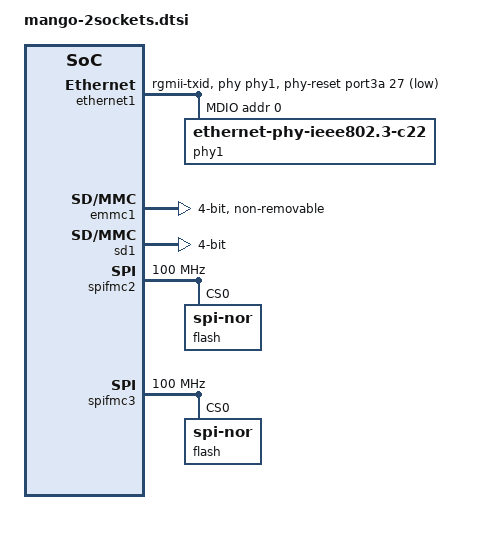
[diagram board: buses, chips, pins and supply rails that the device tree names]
#define NR_CPUS 128

#include "mango.dtsi"
#if NR_CPUS > 64
#include "mango-cpus-socket1.dtsi"
#endif
#include "mango-clock-socket1.dtsi"

/ {
	/delete-node/ distance-map;
	distance-map {
		compatible = "numa-distance-map-v1";
		distance-matrix = <0 0 10>,	//chip0
				  <0 1 15>,
				  <0 2 25>,
				  <0 3 30>,
				  <0 4 110>,
				  <0 5 115>,
				  <0 6 125>,
				  <0 7 130>,
				  <1 0 15>,
				  <1 1 10>,
				  <1 2 30>,
				  <1 3 25>,
				  <1 4 115>,
				  <1 5 110>,
				  <1 6 130>,
				  <1 7 125>,
				  <2 0 25>,
				  <2 1 30>,
				  <2 2 10>,
				  <2 3 15>,
				  <2 4 125>,
				  <2 5 130>,
				  <2 6 110>,
				  <2 7 115>,
				  <3 0 30>,
				  <3 1 25>,
				  <3 2 15>,
				  <3 3 10>,
				  <3 4 130>,
				  <3 5 125>,
				  <3 6 115>,
				  <3 7 110>,
				  <4 0 110>,	//chip1
				  <4 1 115>,
				  <4 2 125>,
				  <4 3 130>,
				  <4 4 10>,
				  <4 5 15>,
				  <4 6 25>,
				  <4 7 30>,
				  <5 0 115>,
				  <5 1 110>,
				  <5 2 130>,
				  <5 3 125>,
				  <5 4 15>,
				  <5 5 10>,
				  <5 6 30>,
				  <5 7 25>,
				  <6 0 125>,
				  <6 1 130>,
				  <6 2 110>,
				  <6 3 115>,
				  <6 4 25>,
				  <6 5 30>,
				  <6 6 10>,
				  <6 7 15>,
				  <7 0 130>,
				  <7 1 125>,
				  <7 2 115>,
				  <7 3 110>,
				  <7 4 30>,
				  <7 5 25>,
				  <7 6 15>,
				  <7 7 10>;
	};

	soc {
#if NR_CPUS > 64
		/delete-node/ clint-mswi@7094000000;
		clint_mswi: clint-mswi@7094000000 {
			compatible = "thead,c900-clint-mswi";
			reg = <0x00000070 0x94000000 0x00000000 0x00004000>;
			interrupts-extended = <
				&cpu0_intc 3
				&cpu1_intc 3
				&cpu2_intc 3
				&cpu3_intc 3
				&cpu4_intc 3
				&cpu5_intc 3
				&cpu6_intc 3
				&cpu7_intc 3
				&cpu8_intc 3
				&cpu9_intc 3
				&cpu10_intc 3
				&cpu11_intc 3
				&cpu12_intc 3
				&cpu13_intc 3
				&cpu14_intc 3
				&cpu15_intc 3
				&cpu16_intc 3
				&cpu17_intc 3
				&cpu18_intc 3
				&cpu19_intc 3
				&cpu20_intc 3
				&cpu21_intc 3
				&cpu22_intc 3
				&cpu23_intc 3
				&cpu24_intc 3
				&cpu25_intc 3
				&cpu26_intc 3
				&cpu27_intc 3
				&cpu28_intc 3
				&cpu29_intc 3
				&cpu30_intc 3
				&cpu31_intc 3
				&cpu32_intc 3
				&cpu33_intc 3
				&cpu34_intc 3
				&cpu35_intc 3
				&cpu36_intc 3
				&cpu37_intc 3
				&cpu38_intc 3
				&cpu39_intc 3
				&cpu40_intc 3
				&cpu41_intc 3
				&cpu42_intc 3
				&cpu43_intc 3
				&cpu44_intc 3
				&cpu45_intc 3
				&cpu46_intc 3
				&cpu47_intc 3
				&cpu48_intc 3
				&cpu49_intc 3
				&cpu50_intc 3
				&cpu51_intc 3
				&cpu52_intc 3
				&cpu53_intc 3
				&cpu54_intc 3
				&cpu55_intc 3
				&cpu56_intc 3
				&cpu57_intc 3
				&cpu58_intc 3
				&cpu59_intc 3
				&cpu60_intc 3
				&cpu61_intc 3
				&cpu62_intc 3
				&cpu63_intc 3

				// chip 1
				&cpu64_intc 3
				&cpu65_intc 3
				&cpu66_intc 3
				&cpu67_intc 3
				&cpu68_intc 3
				&cpu69_intc 3
				&cpu70_intc 3
				&cpu71_intc 3
				&cpu72_intc 3
				&cpu73_intc 3
				&cpu74_intc 3
				&cpu75_intc 3
				&cpu76_intc 3
				&cpu77_intc 3
				&cpu78_intc 3
				&cpu79_intc 3
				&cpu80_intc 3
				&cpu81_intc 3
				&cpu82_intc 3
				&cpu83_intc 3
				&cpu84_intc 3
				&cpu85_intc 3
				&cpu86_intc 3
				&cpu87_intc 3
				&cpu88_intc 3
				&cpu89_intc 3
				&cpu90_intc 3
				&cpu91_intc 3
				&cpu92_intc 3
				&cpu93_intc 3
				&cpu94_intc 3
				&cpu95_intc 3
				&cpu96_intc 3
				&cpu97_intc 3
				&cpu98_intc 3
				&cpu99_intc 3
				&cpu100_intc 3
				&cpu101_intc 3
				&cpu102_intc 3
				&cpu103_intc 3
				&cpu104_intc 3
				&cpu105_intc 3
				&cpu106_intc 3
				&cpu107_intc 3
				&cpu108_intc 3
				&cpu109_intc 3
				&cpu110_intc 3
				&cpu111_intc 3
				&cpu112_intc 3
				&cpu113_intc 3
				&cpu114_intc 3
				&cpu115_intc 3
				&cpu116_intc 3
				&cpu117_intc 3
				&cpu118_intc 3
				&cpu119_intc 3
				&cpu120_intc 3
				&cpu121_intc 3
				&cpu122_intc 3
				&cpu123_intc 3
				&cpu124_intc 3
				&cpu125_intc 3
				&cpu126_intc 3
				&cpu127_intc 3
				>;
		};

		clint_mtimer16: clint-mtimer@70ac100000 {
			compatible = "thead,c900-clint-mtimer";
			reg = <0x00000070 0xac100000 0x00000000 0x00007ff8>;
			interrupts-extended = <
				&cpu64_intc 7
				&cpu65_intc 7
				&cpu66_intc 7
				&cpu67_intc 7
				>;
		};

		clint_mtimer17: clint-mtimer@70ac110000 {
			compatible = "thead,c900-clint-mtimer";
			reg = <0x00000070 0xac110000 0x00000000 0x00007ff8>;
			interrupts-extended = <
				&cpu68_intc 7
				&cpu69_intc 7
				&cpu70_intc 7
				&cpu71_intc 7
				>;
		};

		clint_mtimer18: clint-mtimer@70ac120000 {
			compatible = "thead,c900-clint-mtimer";
			reg = <0x00000070 0xac120000 0x00000000 0x00007ff8>;
			interrupts-extended = <
				&cpu72_intc 7
				&cpu73_intc 7
				&cpu74_intc 7
				&cpu75_intc 7
				>;
		};

		clint_mtimer19: clint-mtimer@70ac130000 {
			compatible = "thead,c900-clint-mtimer";
			reg = <0x00000070 0xac130000 0x00000000 0x00007ff8>;
			interrupts-extended = <
				&cpu76_intc 7
				&cpu77_intc 7
				&cpu78_intc 7
				&cpu79_intc 7
				>;
		};

		clint_mtimer20: clint-mtimer@70ac140000 {
			compatible = "thead,c900-clint-mtimer";
			reg = <0x00000070 0xac140000 0x00000000 0x00007ff8>;
			interrupts-extended = <
				&cpu80_intc 7
				&cpu81_intc 7
				&cpu82_intc 7
				&cpu83_intc 7
				>;
		};

		clint_mtimer21: clint-mtimer@70ac150000 {
			compatible = "thead,c900-clint-mtimer";
			reg = <0x00000070 0xac150000 0x00000000 0x00007ff8>;
			interrupts-extended = <
				&cpu84_intc 7
				&cpu85_intc 7
				&cpu86_intc 7
				&cpu87_intc 7
				>;
		};

		clint_mtimer22: clint-mtimer@70ac160000 {
			compatible = "thead,c900-clint-mtimer";
			reg = <0x00000070 0xac160000 0x00000000 0x00007ff8>;
			interrupts-extended = <
				&cpu88_intc 7
				&cpu89_intc 7
				&cpu90_intc 7
				&cpu91_intc 7
				>;
		};

		clint_mtimer23: clint-mtimer@70ac170000 {
			compatible = "thead,c900-clint-mtimer";
			reg = <0x00000070 0xac170000 0x00000000 0x00007ff8>;
			interrupts-extended = <
				&cpu92_intc 7
				&cpu93_intc 7
				&cpu94_intc 7
				&cpu95_intc 7
				>;
		};

		clint_mtimer24: clint-mtimer@70ac180000 {
			compatible = "thead,c900-clint-mtimer";
			reg = <0x00000070 0xac180000 0x00000000 0x00007ff8>;
			interrupts-extended = <
				&cpu96_intc 7
				&cpu97_intc 7
				&cpu98_intc 7
				&cpu99_intc 7
				>;
		};

		clint_mtimer25: clint-mtimer@70ac190000 {
			compatible = "thead,c900-clint-mtimer";
			reg = <0x00000070 0xac190000 0x00000000 0x00007ff8>;
			interrupts-extended = <
				&cpu100_intc 7
				&cpu101_intc 7
				&cpu102_intc 7
				&cpu103_intc 7
				>;
		};

		clint_mtimer26: clint-mtimer@70ac1a0000 {
			compatible = "thead,c900-clint-mtimer";
			reg = <0x00000070 0xac1a0000 0x00000000 0x00007ff8>;
			interrupts-extended = <
				&cpu104_intc 7
				&cpu105_intc 7
				&cpu106_intc 7
				&cpu107_intc 7
				>;
		};

		clint_mtimer27: clint-mtimer@70ac1b0000 {
			compatible = "thead,c900-clint-mtimer";
			reg = <0x00000070 0xac1b0000 0x00000000 0x00007ff8>;
			interrupts-extended = <
				&cpu108_intc 7
				&cpu109_intc 7
				&cpu110_intc 7
				&cpu111_intc 7
				>;
		};

		clint_mtimer28: clint-mtimer@70ac1c0000 {
			compatible = "thead,c900-clint-mtimer";
			reg = <0x00000070 0xac1c0000 0x00000000 0x00007ff8>;
			interrupts-extended = <
				&cpu112_intc 7
				&cpu113_intc 7
				&cpu114_intc 7
				&cpu115_intc 7
				>;
		};

		clint_mtimer29: clint-mtimer@70ac1d0000 {
			compatible = "thead,c900-clint-mtimer";
			reg = <0x00000070 0xac1d0000 0x00000000 0x00007ff8>;
			interrupts-extended = <
				&cpu116_intc 7
				&cpu117_intc 7
				&cpu118_intc 7
				&cpu119_intc 7
				>;
		};

		clint_mtimer30: clint-mtimer@70ac1e0000 {
			compatible = "thead,c900-clint-mtimer";
			reg = <0x00000070 0xac1e0000 0x00000000 0x00007ff8>;
			interrupts-extended = <
				&cpu120_intc 7
				&cpu121_intc 7
				&cpu122_intc 7
				&cpu123_intc 7
				>;
		};

		clint_mtimer31: clint-mtimer@70ac1f0000 {
			compatible = "thead,c900-clint-mtimer";
			reg = <0x00000070 0xac1f0000 0x00000000 0x00007ff8>;
			interrupts-extended = <
				&cpu124_intc 7
				&cpu125_intc 7
				&cpu126_intc 7
				&cpu127_intc 7
				>;
		};
#endif

		/delete-node/ interrupt-controller@7090000000;
		intc: interrupt-controller@7090000000 {
			#address-cells = <0>;
			#interrupt-cells = <2>;
			compatible = "thead,c900-plic";
			interrupt-controller;
			interrupts-extended = <
				&cpu0_intc  11 &cpu0_intc  9
				&cpu1_intc  11 &cpu1_intc  9
				&cpu2_intc  11 &cpu2_intc  9
				&cpu3_intc  11 &cpu3_intc  9
				&cpu4_intc  11 &cpu4_intc  9
				&cpu5_intc  11 &cpu5_intc  9
				&cpu6_intc  11 &cpu6_intc  9
				&cpu7_intc  11 &cpu7_intc  9
				&cpu8_intc  11 &cpu8_intc  9
				&cpu9_intc  11 &cpu9_intc  9
				&cpu10_intc  11 &cpu10_intc  9
				&cpu11_intc  11 &cpu11_intc  9
				&cpu12_intc  11 &cpu12_intc  9
				&cpu13_intc  11 &cpu13_intc  9
				&cpu14_intc  11 &cpu14_intc  9
				&cpu15_intc  11 &cpu15_intc  9
				&cpu16_intc  11 &cpu16_intc  9
				&cpu17_intc  11 &cpu17_intc  9
				&cpu18_intc  11 &cpu18_intc  9
				&cpu19_intc  11 &cpu19_intc  9
				&cpu20_intc  11 &cpu20_intc  9
				&cpu21_intc  11 &cpu21_intc  9
				&cpu22_intc  11 &cpu22_intc  9
				&cpu23_intc  11 &cpu23_intc  9
				&cpu24_intc  11 &cpu24_intc  9
				&cpu25_intc  11 &cpu25_intc  9
				&cpu26_intc  11 &cpu26_intc  9
				&cpu27_intc  11 &cpu27_intc  9
				&cpu28_intc  11 &cpu28_intc  9
				&cpu29_intc  11 &cpu29_intc  9
				&cpu30_intc  11 &cpu30_intc  9
				&cpu31_intc  11 &cpu31_intc  9
				&cpu32_intc  11 &cpu32_intc  9
				&cpu33_intc  11 &cpu33_intc  9
				&cpu34_intc  11 &cpu34_intc  9
				&cpu35_intc  11 &cpu35_intc  9
				&cpu36_intc  11 &cpu36_intc  9
				&cpu37_intc  11 &cpu37_intc  9
				&cpu38_intc  11 &cpu38_intc  9
				&cpu39_intc  11 &cpu39_intc  9
				&cpu40_intc  11 &cpu40_intc  9
				&cpu41_intc  11 &cpu41_intc  9
				&cpu42_intc  11 &cpu42_intc  9
				&cpu43_intc  11 &cpu43_intc  9
				&cpu44_intc  11 &cpu44_intc  9
				&cpu45_intc  11 &cpu45_intc  9
				&cpu46_intc  11 &cpu46_intc  9
				&cpu47_intc  11 &cpu47_intc  9
				&cpu48_intc  11 &cpu48_intc  9
				&cpu49_intc  11 &cpu49_intc  9
				&cpu50_intc  11 &cpu50_intc  9
				&cpu51_intc  11 &cpu51_intc  9
				&cpu52_intc  11 &cpu52_intc  9
				&cpu53_intc  11 &cpu53_intc  9
				&cpu54_intc  11 &cpu54_intc  9
				&cpu55_intc  11 &cpu55_intc  9
				&cpu56_intc  11 &cpu56_intc  9
				&cpu57_intc  11 &cpu57_intc  9
				&cpu58_intc  11 &cpu58_intc  9
				&cpu59_intc  11 &cpu59_intc  9
				&cpu60_intc  11 &cpu60_intc  9
				&cpu61_intc  11 &cpu61_intc  9
				&cpu62_intc  11 &cpu62_intc  9
				&cpu63_intc  11 &cpu63_intc  9

#if NR_CPUS > 64
				//chip 1
				&cpu64_intc  11 &cpu64_intc  9
				&cpu65_intc  11 &cpu65_intc  9
				&cpu66_intc  11 &cpu66_intc  9
				&cpu67_intc  11 &cpu67_intc  9
				&cpu68_intc  11 &cpu68_intc  9
				&cpu69_intc  11 &cpu69_intc  9
				&cpu70_intc  11 &cpu70_intc  9
				&cpu71_intc  11 &cpu71_intc  9
				&cpu72_intc  11 &cpu72_intc  9
				&cpu73_intc  11 &cpu73_intc  9
				&cpu74_intc  11 &cpu74_intc  9
				&cpu75_intc  11 &cpu75_intc  9
				&cpu76_intc  11 &cpu76_intc  9
				&cpu77_intc  11 &cpu77_intc  9
				&cpu78_intc  11 &cpu78_intc  9
				&cpu79_intc  11 &cpu79_intc  9
				&cpu80_intc  11 &cpu80_intc  9
				&cpu81_intc  11 &cpu81_intc  9
				&cpu82_intc  11 &cpu82_intc  9
				&cpu83_intc  11 &cpu83_intc  9
				&cpu84_intc  11 &cpu84_intc  9
				&cpu85_intc  11 &cpu85_intc  9
				&cpu86_intc  11 &cpu86_intc  9
				&cpu87_intc  11 &cpu87_intc  9
				&cpu88_intc  11 &cpu88_intc  9
				&cpu89_intc  11 &cpu89_intc  9
				&cpu90_intc  11 &cpu90_intc  9
				&cpu91_intc  11 &cpu91_intc  9
				&cpu92_intc  11 &cpu92_intc  9
				&cpu93_intc  11 &cpu93_intc  9
				&cpu94_intc  11 &cpu94_intc  9
				&cpu95_intc  11 &cpu95_intc  9
				&cpu96_intc  11 &cpu96_intc  9
				&cpu97_intc  11 &cpu97_intc  9
				&cpu98_intc  11 &cpu98_intc  9
				&cpu99_intc  11 &cpu99_intc  9
				&cpu100_intc  11 &cpu100_intc  9
				&cpu101_intc  11 &cpu101_intc  9
				&cpu102_intc  11 &cpu102_intc  9
				&cpu103_intc  11 &cpu103_intc  9
				&cpu104_intc  11 &cpu104_intc  9
				&cpu105_intc  11 &cpu105_intc  9
				&cpu106_intc  11 &cpu106_intc  9
				&cpu107_intc  11 &cpu107_intc  9
				&cpu108_intc  11 &cpu108_intc  9
				&cpu109_intc  11 &cpu109_intc  9
				&cpu110_intc  11 &cpu110_intc  9
				&cpu111_intc  11 &cpu111_intc  9
				&cpu112_intc  11 &cpu112_intc  9
				&cpu113_intc  11 &cpu113_intc  9
				&cpu114_intc  11 &cpu114_intc  9
				&cpu115_intc  11 &cpu115_intc  9
				&cpu116_intc  11 &cpu116_intc  9
				&cpu117_intc  11 &cpu117_intc  9
				&cpu118_intc  11 &cpu118_intc  9
				&cpu119_intc  11 &cpu119_intc  9
				&cpu120_intc  11 &cpu120_intc  9
				&cpu121_intc  11 &cpu121_intc  9
				&cpu122_intc  11 &cpu122_intc  9
				&cpu123_intc  11 &cpu123_intc  9
				&cpu124_intc  11 &cpu124_intc  9
				&cpu125_intc  11 &cpu125_intc  9
				&cpu126_intc  11 &cpu126_intc  9
				&cpu127_intc  11 &cpu127_intc  9
#endif
				>;
			reg = <0x00000070 0x90000000 0x00000000 0x04000000>;
			reg-names = "control";
			riscv,max-priority = <7>;
			riscv,ndev = <448>;
		};

		top1_misc: top_misc_ctrl@f030010000 {
			compatible = "syscon";
			reg = <0xf0 0x30010000 0x0 0x8000>;
		};

		rst1: reset1-controller {
			#reset-cells = <1>;
			compatible = "bitmain,reset";
			subctrl-syscon = <&top1_misc>;
			top_rst_offset = <0x3000>;
			nr_resets = <RST_MAX_NUM>;
		};

		gpio3: gpio@f030009000 {
			compatible = "snps,dw-apb-gpio";
			reg = <0xf0 0x30009000 0x0 0x400>;
			#address-cells = <1>;
			#size-cells = <0>;
			clocks = <&s1_div_clk GATE_CLK_APB_GPIO>,
				 <&s1_div_clk GATE_CLK_GPIO_DB>;
			clock-names = "bus", "db";

			port3a: gpio-controller@0 {
				compatible = "snps,dw-apb-gpio-port";
				bank-name = "port0a";
				gpio-controller;
				#gpio-cells = <2>;
				snps,nr-gpios = <32>;
				reg = <0>;
				interrupt-controller;
				#interrupt-cells = <2>;
				interrupt-parent = <&intc>;
				interrupts = <SOC_PERIPHERAL_IRQ(320) IRQ_TYPE_LEVEL_HIGH>;
			};
		};

		ethernet1: ethernet@f040026000 {
			compatible = "bitmain,ethernet";
			reg = <0xf0 0x40026000 0x0 0x4000>;
			interrupt-parent = <&intc>;
			interrupts = <SOC_PERIPHERAL_IRQ(356) IRQ_TYPE_LEVEL_HIGH>;
			interrupt-names = "macirq";
			clock-names = "clk_tx", "gate_clk_tx", "stmmaceth", "ptp_ref", "gate_clk_ref";
			clocks = <&s1_div_clk DIV_CLK_FPLL_TX_ETH0>,
				   <&s1_div_clk GATE_CLK_TX_ETH0>,
				   <&s1_div_clk GATE_CLK_AXI_ETH0>,
				   <&s1_div_clk GATE_CLK_PTP_REF_I_ETH0>,
				   <&s1_div_clk GATE_CLK_REF_ETH0>;

			/* no hash filter and perfect filter support */
			snps,multicast-filter-bins = <0>;
			snps,perfect-filter-entries = <1>;

			snps,txpbl = <32>;
			snps,rxpbl = <32>;
			snps,aal;

			snps,axi-config = <&stmmac_axi_setup>;
			snps,mtl-rx-config = <&mtl_rx_setup>;
			snps,mtl-tx-config = <&mtl_tx_setup>;

			phy-mode = "rgmii-txid";
			phy-reset-gpios = <&port3a 27 0>;
			phy-handle = <&phy1>;
			mdio {
				#address-cells = <0x1>;
				#size-cells = <0x0>;
				compatible = "snps,dwmac-mdio";
				phy1: phy@0 {
					compatible = "ethernet-phy-ieee802.3-c22";
					device_type = "ethernet-phy";
					reg = <0x0>;
				};
			};
		};

		emmc1: bm-emmc@f04002A000 {
			compatible = "bitmain,bm-emmc";
			reg = <0xf0 0x4002A000 0x0 0x1000>;
			reg-names = "core_mem";
			interrupt-parent = <&intc>;
			interrupts = <SOC_PERIPHERAL_IRQ(358) IRQ_TYPE_LEVEL_HIGH>;
			bus-width = <4>;
			non-removable;
			no-sdio;
			no-sd;
			resets = <&rst1 RST_EMMC>;
			reset-names = "emmc";
			clocks =
				<&s1_div_clk GATE_CLK_EMMC_100M>,
				<&s1_div_clk GATE_CLK_AXI_EMMC>,
				<&s1_div_clk GATE_CLK_100K_EMMC>;
			clock-names =
				"clk_gate_emmc",
				"clk_gate_axi_emmc",
				"clk_gate_100k_emmc";
		};

		sd1: bm-sd@f04002B000 {
			compatible = "bitmain,bm-sd";
			reg = <0xf0 0x4002B000 0x0 0x1000>;
			reg-names = "core_mem";
			interrupt-parent = <&intc>;
			interrupts = <SOC_PERIPHERAL_IRQ(360) IRQ_TYPE_LEVEL_HIGH>;
			bus-width = <4>;
			no-sdio;
			no-mmc;
			resets = <&rst1 RST_SD>;
			reset-names = "sdio";
			clocks =
				<&s1_div_clk GATE_CLK_SD_100M>,
				<&s1_div_clk GATE_CLK_AXI_SD>,
				<&s1_div_clk GATE_CLK_100K_SD>;
			clock-names =
				"clk_gate_sd",
				"clk_gate_axi_sd",
				"clk_gate_100k_sd";
		};
	};

	spifmc2: flash-controller@f000180000 {
		compatible = "sophgo,spifmc";
		reg = <0xf0 0x00180000 0x0 0x1000000>;
		reg-names = "memory";
		#address-cells = <1>;
		#size-cells = <0>;
		interrupt-parent = <&intc>;
		interrupts = <SOC_PERIPHERAL_IRQ(332) IRQ_TYPE_LEVEL_HIGH>;
		clock-frequency = <100000000>;
		clocks = <&s1_div_clk GATE_CLK_AHB_SF>;
		flash@0 {
			reg = <0>;
			compatible = "jedec,spi-nor";
		};
	};

	spifmc3: flash-controller@f002180000 {
		compatible = "sophgo,spifmc";
		reg = <0xf0 0x02180000 0x0 0x1000000>;
		reg-names = "memory";
		#address-cells = <1>;
		#size-cells = <0>;
		interrupt-parent = <&intc>;
		interrupts = <SOC_PERIPHERAL_IRQ(333) IRQ_TYPE_LEVEL_HIGH>;
		clock-frequency = <100000000>;
		clocks = <&s1_div_clk GATE_CLK_AHB_SF>;
		flash@0 {
			reg = <0>;
			compatible = "jedec,spi-nor";
		};
	};

	aliases {
	        serial0 = &uart0;
	        ethernet0 = &ethernet0;
	        ethernet1 = &ethernet1;
	};
};
